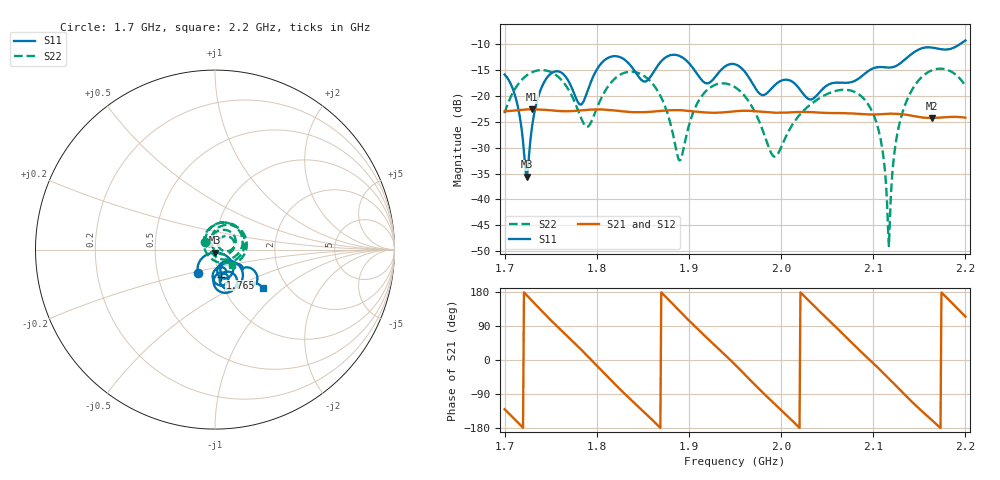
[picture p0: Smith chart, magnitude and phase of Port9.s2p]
# Hz S RI R 50
! CMT, CMT808U, 21440046, 21.4.3/4
! Date: 12/13/2025 10:51:03 PM
! Data: Format (Calibration Info)
! Freq	S11:Re/Im(F2)	S41:Re/Im(F2)	S14:Re/Im(F2)	S44:Re/Im(F2)
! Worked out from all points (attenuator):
!   501 points, 1.7 GHz to 2.2 GHz, reference 50 ohm
!   highest |S21| = -22.58 dB at 1.73 GHz (marker M1); lowest = -24.3 dB at 2.164 GHz (marker M2)
!   lowest |S11| = -35.6 dB at 1.724 GHz (marker M3), VSWR 1.03, Z = 50.1 - j1.65 ohm
!   |S11| at or under -10 dB: start of sweep to 2.194 GHz
!   |S22| runs from -49.1 to -14.7 dB; largest |S21 - S12| = 0.00039
!   S11 on the Smith chart (normalised r, x): 1.7 GHz: 0.80, -0.22; 1.765 GHz: 1.01, -0.32; 2.2 GHz: 1.51, -0.74
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1.7e9  -0.0926 -0.1315  -0.0457 -0.0545  -0.0454 -0.0544  -0.0539 0.0416
1.713e9  -0.0737 -0.0497  -0.0688 -0.0233  -0.0687 -0.0233  -0.0227 0.1215
1.724e9  0.00122 -0.0165  -0.0731 0.0117  -0.0729 0.0115  0.0452 0.1513
1.73e9  0.0455 -0.0251  -0.0676 0.0307  -0.0675 0.0305  0.0862 0.1463
1.744e9  0.1021 -0.0977  -0.0369 0.0635  -0.037 0.0632  0.1566 0.0821
1.765e9  0.0313 -0.155  0.0245 0.0668  0.0243 0.0667  0.1198 -0.0537
1.784e9  0.0511 -0.0665  0.0657 0.0309  0.0655 0.0309  -0.0114 -0.0571
1.812e9  0.1464 -0.1809  0.0519 -0.0518  0.0518 -0.0516  -0.0304 0.1187
1.852e9  0.054 -0.1267  -0.0527 -0.0457  -0.0524 -0.0458  0.1523 0.0262
1.867e9  0.1208 -0.1605  -0.0709 -0.00721  -0.0708 -0.00739  0.0978 -0.0463
1.89e9  0.0422 -0.2393  -0.0457 0.0565  -0.0459 0.0564  -0.0207 -0.0116
1.915e9  0.00971 -0.1386  0.0251 0.0648  0.0249 0.0648  0.0119 0.1021
1.95e9  0.0308 -0.1999  0.0696 -0.0148  0.0695 -0.0146  0.1151 0.0388
1.993e9  0.0596 -0.1117  -0.0301 -0.0619  -0.0298 -0.0619  0.0225 0.0128
2.034e9  0.0541 -0.0761  -0.0583 0.0381  -0.0583 0.0379  0.0451 0.0725
2.094e9  0.1475 -0.0896  0.066 0.00582  0.066 0.00606  0.0822 -0.0184
2.108e9  0.1539 -0.112  0.0592 -0.0303  0.0592 -0.0301  0.0297 -0.024
2.117e9  0.1537 -0.1083  0.0443 -0.0506  0.0444 -0.0504  -0.00298 -0.00188
2.123e9  0.1629 -0.1015  0.0299 -0.0604  0.03 -0.0603  -0.017 0.0227
2.131e9  0.1876 -0.0997  0.00735 -0.0662  0.00759 -0.0662  -0.0205 0.0625
2.164e9  0.2172 -0.197  -0.0572 -0.0214  -0.0572 -0.0216  0.1312 0.1193
2.2e9  0.2669 -0.2167  -0.0257 0.056  -0.0258 0.0559  0.0936 -0.0835
